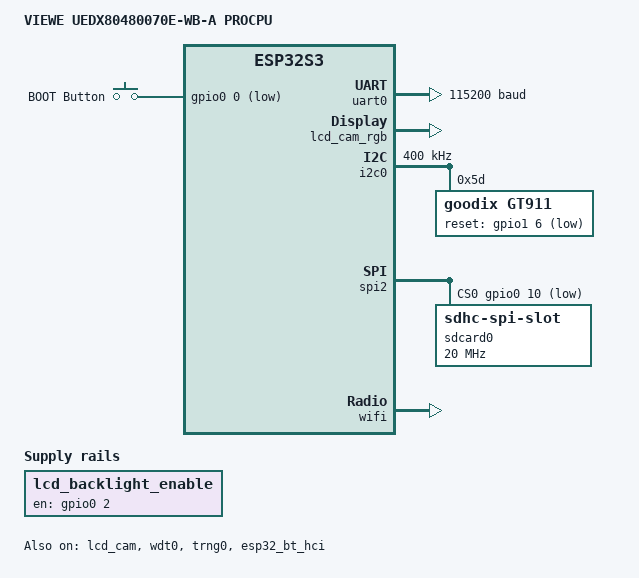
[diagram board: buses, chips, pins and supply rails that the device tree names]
/*
 * SPDX-FileCopyrightText: Copyright The Zephyr Project Contributors
 * SPDX-License-Identifier: Apache-2.0
 */
/dts-v1/;

#include <espressif/esp32s3/esp32s3.dtsi>
#include <zephyr/dt-bindings/input/input-event-codes.h>
#include <zephyr/dt-bindings/display/panel.h>
#include <espressif/partitions_0x0_amp_16M.dtsi>
#include "uedx80480070e_wb_a-pinctrl.dtsi"

/ {
	model = "VIEWE UEDX80480070E-WB-A PROCPU";
	compatible = "viewe,uedx80480070e-wb-a";

	aliases {
		i2c-0 = &i2c0;
		watchdog0 = &wdt0;
		uart-0 = &uart0;
		sw0 = &button0;
		sdhc0 = &sdcard0;
	};

	chosen {
		zephyr,sram = &sram1;
		zephyr,console = &uart0;
		zephyr,shell-uart = &uart0;
		zephyr,flash = &flash0;
		zephyr,code-partition = &slot0_partition;
		zephyr,bt-hci = &esp32_bt_hci;
		zephyr,display = &lcd_cam_rgb;
		zephyr,touch = &gt911;
	};

	buttons {
		compatible = "gpio-keys";

		button0: button_0 {
			gpios = <&gpio0 0 (GPIO_PULL_UP | GPIO_ACTIVE_LOW)>;
			label = "BOOT Button";
			zephyr,code = <INPUT_KEY_0>;
		};
	};

	lcd_backlight_en {
		compatible = "regulator-fixed";
		regulator-name = "lcd_backlight_enable";
		enable-gpios = <&gpio0 2 GPIO_ACTIVE_HIGH>; /* IO2-LCD-BL-EN */
		regulator-boot-on;
	};
};

&flash0 {
	reg = <0x0 DT_SIZE_M(16)>;
	ranges = <0x0 0x0 DT_SIZE_M(16)>;
};

&psram0 {
	size = <DT_SIZE_M(8)>;
};

&dma {
	status = "okay";
};

&uart0 {
	status = "okay";
	current-speed = <115200>;
	pinctrl-0 = <&uart0_default>;
	pinctrl-names = "default";
};

&gpio0 {
	status = "okay";
};

&gpio1 {
	status = "okay";
};

&lcd_cam {
	status = "okay";
	pinctrl-0 = <&lcd_cam_default>;
	pinctrl-names = "default";
};

/* 7.0" 800x480 TN panel, wired for RGB565 */
&lcd_cam_rgb {
	status = "okay";
	width = <800>;
	height = <480>;
	pixel-format = <PANEL_PIXEL_FORMAT_RGB_565>;
	dmas = <&dma 0>, <&dma 8>;
	dma-names = "refill", "write";

	display-timings {
		compatible = "zephyr,panel-timing";
		clock-frequency = <15000000>;
		hsync-len = <48>;
		hback-porch = <40>;
		hfront-porch = <88>;
		vsync-len = <6>;
		vback-porch = <26>;
		vfront-porch = <30>;
		hsync-active = <0>;
		vsync-active = <0>;
		de-active = <1>;
		pixelclk-active = <0>;
	};
};

&i2c0 {
	status = "okay";
	clock-frequency = <I2C_BITRATE_FAST>;
	pinctrl-0 = <&i2c0_default>;
	pinctrl-names = "default";

	/* The interrupt line is not used, the controller is polled */
	gt911: gt911@5d {
		compatible = "goodix,gt911";
		reg = <0x5d>;
		alt-addr = <0x14>;
		reset-gpios = <&gpio1 6 GPIO_ACTIVE_LOW>; /* IO38 */
	};
};

&spi2 {
	#address-cells = <1>;
	#size-cells = <0>;
	status = "okay";
	pinctrl-0 = <&spim2_default>;
	pinctrl-names = "default";
	cs-gpios = <&gpio0 10 GPIO_ACTIVE_LOW>;

	sdcard0: sdhc@0 {
		compatible = "zephyr,sdhc-spi-slot";
		reg = <0>;
		status = "okay";
		spi-max-frequency = <DT_FREQ_M(20)>;

		mmc {
			compatible = "zephyr,sdmmc-disk";
			disk-name = "SD";
			status = "okay";
		};
	};
};

&wdt0 {
	status = "okay";
};

&trng0 {
	status = "okay";
};

&esp32_bt_hci {
	status = "okay";
};

&wifi {
	status = "okay";
};
